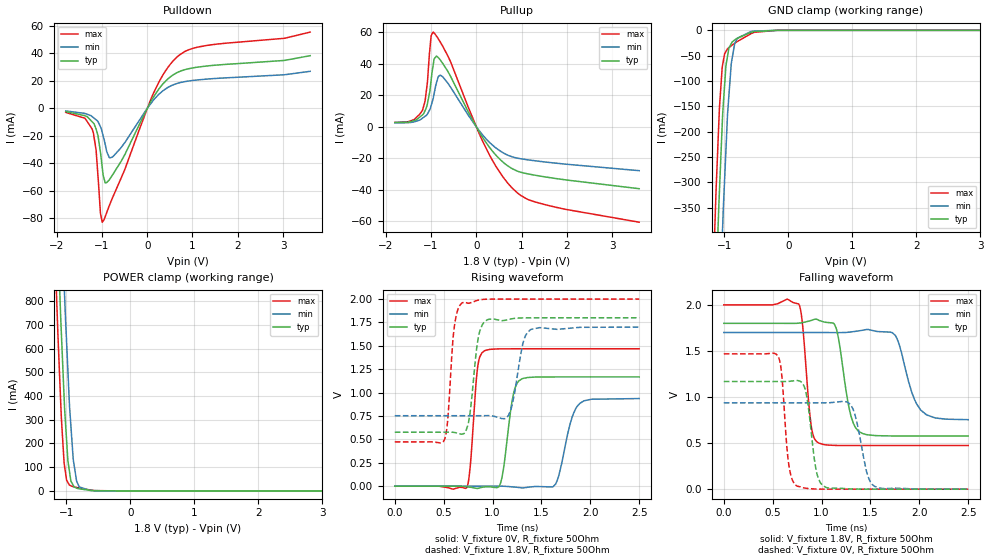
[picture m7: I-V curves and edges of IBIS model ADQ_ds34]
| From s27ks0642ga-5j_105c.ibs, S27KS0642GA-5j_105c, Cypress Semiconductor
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[Model]   ADQ_ds34
Model_type   I/O
Polarity   Non-Inverting
Enable   Active-High
Vinl = 0.54
Vinh = 1.26
Vmeas = 0.9
Vref = 0.9
Cref = 15pF
|   typ   min   max
C_comp   1.03pF   1.01pF   1.05pF
[Voltage Range]   1.8   1.7   2
[Temperature Range]   25   105   -40
[Pullup Reference]   1.8   1.7   2
[Pulldown Reference]   0   0   0
[Power Clamp Reference]   1.8   1.7   2
[GND Clamp Reference]   0   0   0
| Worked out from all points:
|   slope of the pulldown table from 0 to 0.27 V, typ, clamps not added: 18.2 ohm
|   slope of the pullup table from 0 to 0.27 V, typ, clamps not added: 22 ohm
|   falling waveform, V_fixture 1.8V, R_fixture 50Ohm: 20-80 % time 109ps typ, 155ps min, 70ps max; typ from 1.8 V to 0.577 V
|   rising waveform, V_fixture 0V, R_fixture 50Ohm: 20-80 % time 86.2ps typ, 124ps min, 59.2ps max; typ from 0 V to 1.17 V
|   rising waveform, V_fixture 1.8V, R_fixture 50Ohm: 20-80 % time 74.7ps typ, 92.5ps min, 61.3ps max; typ from 0.577 V to 1.8 V
|   falling waveform, V_fixture 0V, R_fixture 50Ohm: 20-80 % time 81.1ps typ, 105ps min, 63.2ps max; typ from 1.17 V to 0 V
[Pulldown]
|   Voltage   I(typ)   I(min)   I(max)
-1.8V     -2.359mA   -1.868mA   -2.933mA
-1.374V   -5.373mA   -3.742mA   -7.265mA
-1.214V   -9.839mA   -6.056mA   -15.16mA
-1.13V    -15.01mA   -8.293mA   -30.24mA
-1.034V   -31.79mA   -13.31mA   -76.11mA
-994mV    -42.88mA   -17.4mA    -82.71mA
-928.8mV  -54.16mA   -26.17mA   -78.76mA
-782mV    -49.14mA   -35.55mA   -66.17mA
142mV     8.49mA     6.166mA    11.29mA
648mV     25.8mA     18mA       37.02mA
1.118V    29.99mA    20.69mA    44.54mA
3.6V      38.3mA     26.93mA    55.44mA
[GND Clamp]
|   Voltage   I(typ)   I(min)   I(max)
-1.8V     -3.484A    -3.741A    -3.305A
-1.147V   -567.9mA   -841.5mA   -380mA
-1.101V   -400.1mA   -656.2mA   -227.7mA
-1.078V   -320.4mA   -568.1mA   -155.3mA
-1.026V   -163.8mA   -385.3mA   -67.31mA
-975.6mV  -69.57mA   -236.4mA   -41.68mA
-950mV    -50.35mA   -165.1mA   -36.56mA
-892.2mV  -26.32mA   -65.4mA    -30.39mA
-839.5mV  -18.92mA   -26.77mA   -25.6mA
-798mV    -15.62mA   -15.68mA   -22.04mA
-178.2mV  -180nA     -761.6nA   -17.78uA
3.6V      0A         0A         0A
[Pullup]
|   Voltage   I(typ)   I(min)   I(max)
-1.8V     2.708mA    2.599mA    2.774mA
-1.374V   3.941mA    3.132mA    4.575mA
-1.188V   7.539mA    5.488mA    10.46mA
-1.087V   13.35mA    7.776mA    26.27mA
-996mV    29.74mA    13.47mA    57.78mA
-952mV    39.1mA     17.83mA    60.04mA
-841.2mV  43.96mA    31.75mA    55.89mA
-739.2mV  40.13mA    31.68mA    51.01mA
255.3mV   -11.54mA   -8.795mA   -15.79mA
902mV     -28.02mA   -19.84mA   -41.7mA
1.55V     -31.88mA   -22.4mA    -49.56mA
3.6V      -39.24mA   -27.8mA    -60.46mA
[POWER Clamp]
|   Voltage   I(typ)   I(min)   I(max)
-1.8V     6.849A     7.358A     6.488A
-1.172V   1.366A     1.931A     969mA
-1.147V   1.167A     1.726A     774.9mA
-1.101V   829.9mA    1.36A      461.2mA
-1.078V   667.7mA    1.185A     309.3mA
-1.028V   350.9mA    828.6mA    104.5mA
-975.6mV  127.2mA    507mA      35.24mA
-952mV    83.41mA    367.3mA    24.73mA
-892.2mV  23.57mA    133.2mA    18.04mA
-839.5mV  11.6mA     41.16mA    14.61mA
-635.5mV  2.807mA    2.165mA    4.324mA
3.6V      0A         0A         0A
[Ramp]
R_load = 50
|   typ   min   max
dV/dt_r 7.0096E-01/8.5820E-11   5.6203E-01/1.2237E-10   8.8117E-01/5.8960E-11
dV/dt_f 7.3377E-01/1.0835E-10   5.6745E-01/1.5420E-10   9.1597E-01/6.9682E-11
[Falling Waveform]
V_fixture = 1.8V
V_fixture_min = 1.7V
V_fixture_max = 2V
R_fixture = 50Ohm
C_fixture = 0F
|   Time   V(typ)   V(min)   V(max)
0s        1.8V       1.7V       2V
765ps     1.802V     1.7V       2.01V
895ps     1.831V     1.7V       681mV
970ps     1.834V     1.7V       501mV
1.15ns    1.745V     1.699V     474.8mV
1.285ns   863.5mV    1.704V     473.6mV
1.375ns   631mV      1.717V     473.5mV
1.755ns   577.5mV    1.668V     473.4mV
2.075ns   577.1mV    805.5mV    473.4mV
2.5ns     577mV      754.2mV    473.4mV
[Rising Waveform]
V_fixture = 0V
V_fixture_min = 0V
V_fixture_max = 0V
R_fixture = 50Ohm
C_fixture = 0F
|   Time   V(typ)   V(min)   V(max)
0s        0V         0V         0V
735ps     -5.583mV   0V         -16.89mV
770ps     -10.28mV   0V         191.2mV
845ps     -23.86mV   -740.8nV   1.251V
915ps     -7.827mV   -28.09uV   1.446V
1.085ns   43.45mV    488.3uV    1.468V
1.27ns    1.126V     -13.67mV   1.468V
1.645ns   1.168V     23.22mV    1.469V
1.895ns   1.168V     887.3mV    1.469V
2.5ns     1.168V     936.7mV    1.469V
[Rising Waveform]
V_fixture = 1.8V
V_fixture_min = 1.7V
V_fixture_max = 2V
R_fixture = 50Ohm
C_fixture = 0F
|   Time   V(typ)   V(min)   V(max)
0s        577.1mV    753.4mV    473.4mV
510ps     577.1mV    753.4mV    501.2mV
610ps     574.4mV    753.4mV    1.711V
690ps     556.7mV    753.4mV    1.959V
760ps     715.1mV    753.4mV    1.956V
860ps     1.618V     753.4mV    1.99V
945ps     1.777V     754.3mV    1.999V
1.165ns   1.782V     760.6mV    2V
1.39ns    1.8V       1.674V     2V
2.5ns     1.8V       1.7V       2V
[Falling Waveform]
|Gnd
V_fixture = 0V
V_fixture_min = 0V
V_fixture_max = 0V
R_fixture = 50Ohm
C_fixture = 0F
|   Time   V(typ)   V(min)   V(max)
0s        1.168V     936.9mV    1.469V
555ps     1.168V     936.9mV    1.444V
665ps     1.17V      936.9mV    264.3mV
745ps     1.179V     936.9mV    35.6mV
840ps     1.051V     936.9mV    10.32mV
935ps     262.7mV    936.9mV    1.979mV
1.01ns    40.84mV    936.8mV    491uV
1.3ns     2.636mV    912.3mV    4.557uV
1.54ns    86.12uV    32.2mV     0V
2.5ns     0V         6.612uV    0V
